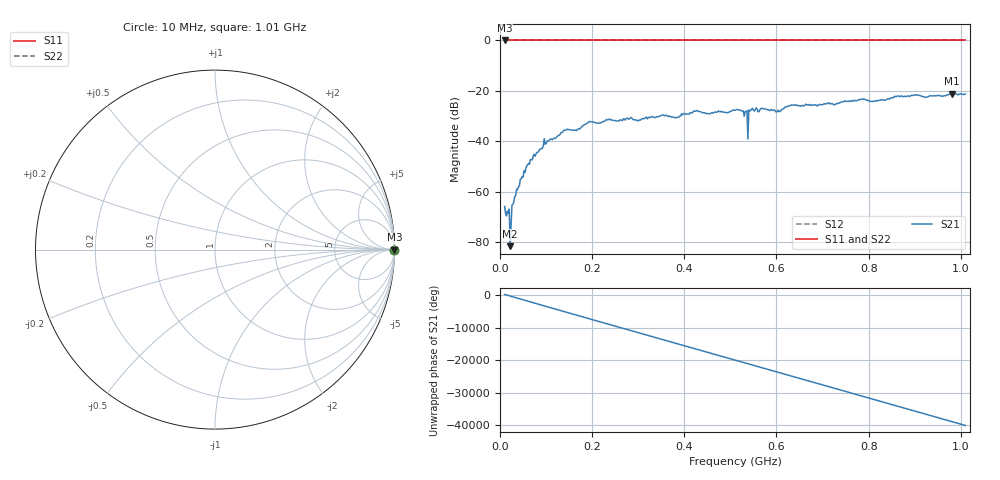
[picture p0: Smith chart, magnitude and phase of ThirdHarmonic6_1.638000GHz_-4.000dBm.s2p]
! 8/16/2025 7:35:13 PM
! C:\ANRITSUVNA\TEMP\TEMP.S2P
! CHANNEL.1
! TR.MEASUREMENT
! RAW.DATA
! RF.CORRECTION.OFF
! AVERAGING.OFF
! IF.BANDWIDTH: 5KHZ
! SWEEPTYPE:  FREQ.SWEEP(Linear)
! Reference Plane Port Info
! PORT:  PORT1  PORT2
! DISTANCE:  0  m  0  m
! TIME:  0  s  0  s
! PHASE.OFFSET:  0  deg.  0  deg.
! LOSS:  0  dB  0  dB
! REF.LOSS:  0  dB  0  dB
! REF.FREQ:  0  Hz  0  Hz
! Power Info
! POWER:  -20  dBm  -20  dBm
! EFF.POWER:  -20  dBm  -20  dBm
! SOURCE.ATTEN:  0  dB  0  dB
! TEST.ATTEN:  0  dB  0  dB
# GHZ S RI R 50.0
! FREQ.GHZ  S11RE  S11IM  S21RE  S21IM  S12RE  S12IM  S22RE  S22IM
!; PortSelection: Port_12
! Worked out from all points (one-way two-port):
!   501 points, 10 MHz to 1.01 GHz, reference 50 ohm
!   highest |S21| = -21.13 dB at 980 MHz (marker M1); lowest = -81.5 dB at 22 MHz (marker M2)
!   lowest |S11| = 0.0 dB at 10 MHz (marker M3)
!   |S11| at or under -10 dB: nowhere
!   |S22| runs from 0.0 to 0.0 dB; largest |S21 - S12| = 1.1
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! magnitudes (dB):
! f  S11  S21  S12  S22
! 10 MHz  0.0  -65.8  0.0  0.0
! 22 MHz  0.0  -81.5  0.0  0.0
! 26 MHz  0.0  -65.3  0.0  0.0
! 30 MHz  0.0  -64.1  0.0  0.0
! 40 MHz  0.0  -58.0  0.0  0.0
! 70 MHz  0.0  -47.3  0.0  0.0
! 100 MHz  0.0  -40.8  0.0  0.0
! 142 MHz  0.0  -35.6  0.0  0.0
! 178 MHz  0.0  -34.1  0.0  0.0
! 196 MHz  0.0  -32.3  0.0  0.0
! 344 MHz  0.0  -30.3  0.0  0.0
! 510 MHz  0.0  -27.7  0.0  0.0
! 532 MHz  0.0  -28.2  0.0  0.0
! 534 MHz  0.0  -28.2  0.0  0.0
! 542 MHz  0.0  -27.9  0.0  0.0
! 544 MHz  0.0  -27.8  0.0  0.0
! 602 MHz  0.0  -28.1  0.0  0.0
! 630 MHz  0.0  -25.8  0.0  0.0
! 678 MHz  0.0  -25.7  0.0  0.0
! 844 MHz  0.0  -23.3  0.0  0.0
! 980 MHz  0.0  -21.1  0.0  0.0
! 1.01 GHz  0.0  -21.2  0.0  0.0
